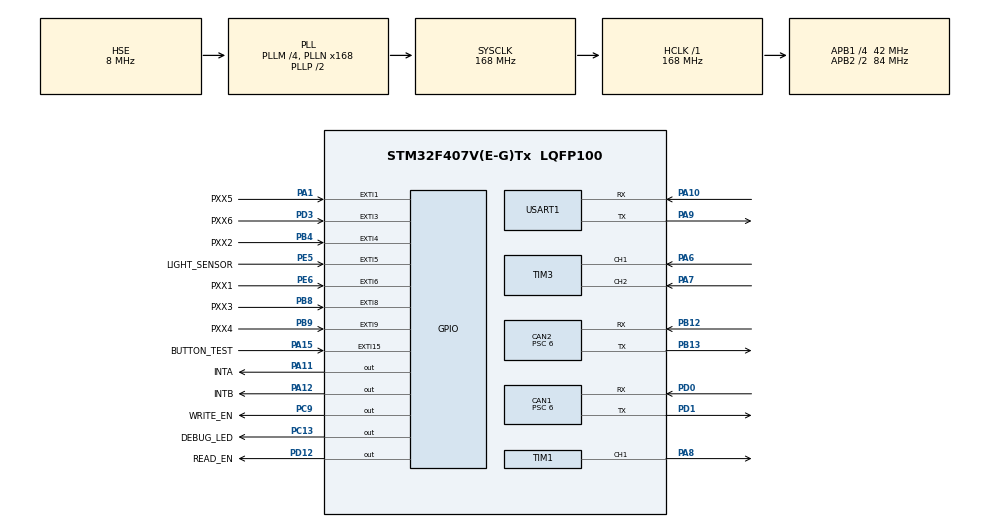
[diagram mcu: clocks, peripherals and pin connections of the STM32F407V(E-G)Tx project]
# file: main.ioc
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CAN1.BS1=CAN_BS1_3TQ
CAN1.BS2=CAN_BS2_3TQ
CAN1.CalculateBaudRate=1000000
CAN1.CalculateTimeBit=1000
CAN1.CalculateTimeQuantum=142.85714285714286
CAN1.Prescaler=6
CAN2.BS1=CAN_BS1_3TQ
CAN2.BS2=CAN_BS2_3TQ
CAN2.CalculateBaudRate=1000000
CAN2.CalculateTimeBit=1000
CAN2.CalculateTimeQuantum=142.85714285714286
CAN2.Prescaler=6
FREERTOS.Mutexes01=step_motor1_queue_mutex,Dynamic,NULL,Available;step_motor2_queue_mutex,Dynamic,NULL,Available;step_motor3_queue_mutex,Dynamic,NULL,Available
FREERTOS.Tasks01=main_task,24,512,MainTask,Default,NULL,Dynamic,NULL,NULL;step_motor1,40,128,step_motor1_task,Default,NULL,Dynamic,NULL,NULL;step_motor2,40,128,step_motor2_task,Default,NULL,Dynamic,NULL,NULL;step_motor3,40,128,step_motor3_task,Default,NULL,Dynamic,NULL,NULL
FREERTOS.configCHECK_FOR_STACK_OVERFLOW=2
FREERTOS.configENABLE_FPU=1
FREERTOS.configRECORD_STACK_HIGH_ADDRESS=1
FREERTOS.configTOTAL_HEAP_SIZE=30720
Mcu.Family=STM32F4
Mcu.Name=STM32F407V(E-G)Tx
Mcu.Package=LQFP100
NVIC.CAN1_RX0_IRQn=true\:5\:0\:false\:false\:true\:true\:true\:true\:true
NVIC.CAN1_RX1_IRQn=true\:5\:0\:false\:false\:true\:true\:true\:true\:true
NVIC.CAN1_SCE_IRQn=true\:5\:0\:false\:false\:true\:true\:true\:true\:true
NVIC.CAN1_TX_IRQn=true\:5\:0\:false\:false\:true\:true\:true\:true\:true
NVIC.CAN2_RX0_IRQn=true\:5\:0\:false\:false\:true\:true\:true\:true\:true
NVIC.CAN2_RX1_IRQn=true\:5\:0\:false\:false\:true\:true\:true\:true\:true
NVIC.CAN2_SCE_IRQn=true\:5\:0\:false\:false\:true\:true\:true\:true\:true
NVIC.CAN2_TX_IRQn=true\:5\:0\:false\:false\:true\:true\:true\:true\:true
NVIC.EXTI15_10_IRQn=true\:5\:0\:false\:false\:true\:true\:true\:true\:true
NVIC.EXTI1_IRQn=true\:5\:0\:false\:false\:true\:true\:true\:true\:true
NVIC.EXTI3_IRQn=true\:5\:0\:false\:false\:true\:true\:true\:true\:true
NVIC.EXTI4_IRQn=true\:5\:0\:false\:false\:true\:true\:true\:true\:true
NVIC.EXTI9_5_IRQn=true\:5\:0\:false\:false\:true\:true\:true\:true\:true
NVIC.PriorityGroup=NVIC_PRIORITYGROUP_4
NVIC.TIM8_BRK_TIM12_IRQn=true\:5\:0\:false\:false\:true\:true\:true\:true\:true
NVIC.TIM8_TRG_COM_TIM14_IRQn=true\:15\:0\:false\:false\:true\:false\:false\:true\:true
NVIC.TIM8_UP_TIM13_IRQn=true\:5\:0\:false\:false\:true\:true\:true\:true\:true
NVIC.TimeBase=TIM8_TRG_COM_TIM14_IRQn
NVIC.TimeBaseIP=TIM14
NVIC.USART1_IRQn=true\:5\:0\:false\:false\:true\:true\:false\:true\:true
PA1.GPIO_Label=PXX5
PA1.GPIO_ModeDefaultEXTI=GPIO_MODE_IT_RISING_FALLING
PA1.GPIO_PuPd=GPIO_PULLUP
PA1.Signal=GPXTI1
PA10.Mode=Asynchronous
PA10.Signal=USART1_RX
PA11.GPIO_Label=INTA
PA11.Signal=GPIO_Output
PA12.GPIO_Label=INTB
PA12.PinState=GPIO_PIN_SET
PA12.Signal=GPIO_Output
PA13.Mode=Serial_Wire
PA13.Signal=SYS_JTMS-SWDIO
PA14.Mode=Serial_Wire
PA14.Signal=SYS_JTCK-SWCLK
PA15.GPIO_Label=BUTTON_TEST
PA15.GPIO_ModeDefaultEXTI=GPIO_MODE_IT_RISING_FALLING
PA15.GPIO_PuPd=GPIO_PULLUP
PA15.Signal=GPXTI15
PA6.Signal=S_TIM3_CH1
PA7.Signal=S_TIM3_CH2
PA8.Signal=S_TIM1_CH1
PA9.Mode=Asynchronous
PA9.Signal=USART1_TX
PB12.Mode=CAN_Activate
PB12.Signal=CAN2_RX
PB13.Mode=CAN_Activate
PB13.Signal=CAN2_TX
PB4.GPIO_Label=PXX2
PB4.GPIO_ModeDefaultEXTI=GPIO_MODE_IT_RISING_FALLING
PB4.GPIO_PuPd=GPIO_PULLUP
PB4.Signal=GPXTI4
PB8.GPIO_Label=PXX3
PB8.GPIO_ModeDefaultEXTI=GPIO_MODE_IT_RISING_FALLING
PB8.GPIO_PuPd=GPIO_PULLUP
PB8.Signal=GPXTI8
PB9.GPIO_Label=PXX4
PB9.GPIO_ModeDefaultEXTI=GPIO_MODE_IT_RISING_FALLING
PB9.GPIO_PuPd=GPIO_PULLUP
PB9.Signal=GPXTI9
PC13-ANTI_TAMP.GPIO_Label=DEBUG_LED
PC13-ANTI_TAMP.GPIO_PuPd=GPIO_PULLUP
PC13-ANTI_TAMP.PinState=GPIO_PIN_SET
PC13-ANTI_TAMP.Signal=GPIO_Output
PC14-OSC32_IN.Mode=LSE-External-Oscillator
PC14-OSC32_IN.Signal=RCC_OSC32_IN
PC15-OSC32_OUT.Mode=LSE-External-Oscillator
PC15-OSC32_OUT.Signal=RCC_OSC32_OUT
PC9.GPIO_Label=WRITE_EN
PC9.GPIO_PuPd=GPIO_PULLDOWN
PC9.GPIO_Speed=GPIO_SPEED_FREQ_VERY_HIGH
PC9.PinState=GPIO_PIN_SET
PC9.Signal=GPIO_Output
PD0.Mode=CAN_Activate
PD0.Signal=CAN1_RX
PD1.Mode=CAN_Activate
PD1.Signal=CAN1_TX
PD12.GPIO_Label=READ_EN
PD12.GPIO_PuPd=GPIO_PULLDOWN
PD12.GPIO_Speed=GPIO_SPEED_FREQ_VERY_HIGH
PD12.Signal=GPIO_Output
PD3.GPIO_Label=PXX6
PD3.GPIO_ModeDefaultEXTI=GPIO_MODE_IT_RISING_FALLING
PD3.GPIO_PuPd=GPIO_PULLUP
PD3.Signal=GPXTI3
PE5.GPIO_Label=LIGHT_SENSOR
PE5.GPIO_PuPd=GPIO_PULLUP
PE5.Signal=GPXTI5
PE6.GPIO_Label=PXX1
PE6.GPIO_ModeDefaultEXTI=GPIO_MODE_IT_RISING_FALLING
PE6.GPIO_PuPd=GPIO_PULLUP
PE6.Signal=GPXTI6
PH0-OSC_IN.Mode=HSE-External-Oscillator
PH0-OSC_IN.Signal=RCC_OSC_IN
PH1-OSC_OUT.Mode=HSE-External-Oscillator
PH1-OSC_OUT.Signal=RCC_OSC_OUT
ProjectManager.HeapSize=0x200
ProjectManager.StackSize=0x400
ProjectManager.TargetToolchain=CMake
RCC.48MHZClocksFreq_Value=84000000
RCC.AHBFreq_Value=168000000
RCC.APB1CLKDivider=RCC_HCLK_DIV4
RCC.APB1Freq_Value=42000000
RCC.APB1TimFreq_Value=84000000
RCC.APB2CLKDivider=RCC_HCLK_DIV2
RCC.APB2Freq_Value=84000000
RCC.APB2TimFreq_Value=168000000
RCC.CortexFreq_Value=168000000
RCC.EnbaleCSS=true
RCC.HCLKFreq_Value=168000000
RCC.HSE_VALUE=8000000
RCC.HSI_VALUE=16000000
RCC.PLLM=4
RCC.PLLN=168
RCC.PLLSourceVirtual=RCC_PLLSOURCE_HSE
RCC.SYSCLKFreq_VALUE=168000000
RCC.SYSCLKSource=RCC_SYSCLKSOURCE_PLLCLK
RCC.VCOOutputFreq_Value=336000000
SH.S_TIM1_CH1.0=TIM1_CH1,PWM Generation1 CH1
SH.S_TIM3_CH1.0=TIM3_CH1,Encoder_Interface
SH.S_TIM3_CH2.0=TIM3_CH2,Encoder_Interface
TIM1.AutoReloadPreload=TIM_AUTORELOAD_PRELOAD_ENABLE
TIM1.Channel-PWM\ Generation1\ CH1=TIM_CHANNEL_1
TIM1.Period=100 -1
TIM1.Prescaler=168 -1
TIM12.AutoReloadPreload=TIM_AUTORELOAD_PRELOAD_ENABLE
TIM12.Period=10000
TIM12.Prescaler=168
TIM13.AutoReloadPreload=TIM_AUTORELOAD_PRELOAD_DISABLE
TIM13.Prescaler=16800-1
TIM3.AutoReloadPreload=TIM_AUTORELOAD_PRELOAD_ENABLE
TIM3.EncoderMode=TIM_ENCODERMODE_TI12
USART1.VirtualMode=VM_ASYNC
VP_FREERTOS_VS_CMSIS_V2.Mode=CMSIS_V2
VP_SYS_VS_tim14.Mode=TIM14
VP_TIM12_VS_ClockSourceINT.Mode=Internal
VP_TIM13_VS_ClockSourceINT.Mode=Enable_Timer
VP_TIM13_VS_OPM.Mode=OPM_bit
VP_TIM1_VS_ClockSourceINT.Mode=Internal
board=custom

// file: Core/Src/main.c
/* USER CODE BEGIN Header */
/**
  ******************************************************************************
  * @file           : main.c
  * @brief          : Main program body
  ******************************************************************************
  * @attention
  *
  * Copyright (c) 2025 STMicroelectronics.
  * All rights reserved.
  *
  * This software is licensed under terms that can be found in the LICENSE file
  * in the root directory of this software component.
  * If no LICENSE file comes with this software, it is provided AS-IS.
  *
  ******************************************************************************
  */
/* USER CODE END Header */
#include "main.h"
#include "cmsis_os.h"
#include "can.h"
#include "tim.h"
#include "usart.h"
#include "gpio.h"

/* USER CODE BEGIN Includes */
#include "button_system.h"
// #include "pid_system.h"
/* USER CODE END Includes */

void SystemClock_Config(void);
void MX_FREERTOS_Init(void);

/* USER CODE BEGIN 0 */
int __io_putchar(int ch)
{
  while (!(USART1->SR & USART_SR_TXE))
    ;
  USART1->DR = (uint8_t)ch;
  return ch;
}
/* USER CODE END 0 */

int main(void)
{

  /* MCU Configuration--------------------------------------------------------*/

  /* Reset of all peripherals, Initializes the Flash interface and the Systick. */
  HAL_Init();

  /* Configure the system clock */
  SystemClock_Config();

  /* Initialize all configured peripherals */
  MX_GPIO_Init();
  MX_CAN2_Init();
  MX_USART1_UART_Init();
  MX_TIM1_Init();
  MX_TIM3_Init();
  MX_CAN1_Init();
  MX_TIM13_Init();
  MX_TIM12_Init();

  /* Init scheduler */
  osKernelInitialize();

  /* Call init function for freertos objects (in cmsis_os2.c) */
  MX_FREERTOS_Init();

  /* Start scheduler */
  osKernelStart();

  /* We should never get here as control is now taken by the scheduler */

  /* Infinite loop */
  while (1)
  {

  }
}

void SystemClock_Config(void)
{
  RCC_OscInitTypeDef RCC_OscInitStruct = {0};
  RCC_ClkInitTypeDef RCC_ClkInitStruct = {0};

  /** Configure the main internal regulator output voltage
  */
  __HAL_RCC_PWR_CLK_ENABLE();
  __HAL_PWR_VOLTAGESCALING_CONFIG(PWR_REGULATOR_VOLTAGE_SCALE1);

  /** Initializes the RCC Oscillators according to the specified parameters
  * in the RCC_OscInitTypeDef structure.
  */
  RCC_OscInitStruct.OscillatorType = RCC_OSCILLATORTYPE_HSE;
  RCC_OscInitStruct.HSEState = RCC_HSE_ON;
  RCC_OscInitStruct.PLL.PLLState = RCC_PLL_ON;
  RCC_OscInitStruct.PLL.PLLSource = RCC_PLLSOURCE_HSE;
  RCC_OscInitStruct.PLL.PLLM = 4;
  RCC_OscInitStruct.PLL.PLLN = 168;
  RCC_OscInitStruct.PLL.PLLP = RCC_PLLP_DIV2;
  RCC_OscInitStruct.PLL.PLLQ = 4;
  if (HAL_RCC_OscConfig(&RCC_OscInitStruct) != HAL_OK)
  {
    Error_Handler();
  }

  /** Initializes the CPU, AHB and APB buses clocks
  */
  RCC_ClkInitStruct.ClockType = RCC_CLOCKTYPE_HCLK|RCC_CLOCKTYPE_SYSCLK
                              |RCC_CLOCKTYPE_PCLK1|RCC_CLOCKTYPE_PCLK2;
  RCC_ClkInitStruct.SYSCLKSource = RCC_SYSCLKSOURCE_PLLCLK;
  RCC_ClkInitStruct.AHBCLKDivider = RCC_SYSCLK_DIV1;
  RCC_ClkInitStruct.APB1CLKDivider = RCC_HCLK_DIV4;
  RCC_ClkInitStruct.APB2CLKDivider = RCC_HCLK_DIV2;

  if (HAL_RCC_ClockConfig(&RCC_ClkInitStruct, FLASH_LATENCY_5) != HAL_OK)
  {
    Error_Handler();
  }

  /** Enables the Clock Security System
  */
  HAL_RCC_EnableCSS();
}

void HAL_TIM_PeriodElapsedCallback(TIM_HandleTypeDef *htim)
{
  if (htim->Instance == TIM14)
  {
    HAL_IncTick();
  }
  /* USER CODE BEGIN Callback 1 */
  else if (htim->Instance == TIM13)
  {
    Button_System_Timer_Callback();
  }
  // else if (htim->Instance == TIM12)
  // {
  //   PID_System_Timer_Callback();
  // }
  /* USER CODE END Callback 1 */
}

void Error_Handler(void)
{
  __disable_irq();
  while (1)
  {
  }
}

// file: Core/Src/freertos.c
/* USER CODE BEGIN Header */
/**
 ******************************************************************************
 * File Name          : freertos.c
 * Description        : Code for freertos applications
 ******************************************************************************
 * @attention
 *
 * Copyright (c) 2025 STMicroelectronics.
 * All rights reserved.
 *
 * This software is licensed under terms that can be found in the LICENSE file
 * in the root directory of this software component.
 * If no LICENSE file comes with this software, it is provided AS-IS.
 *
 ******************************************************************************
 */
/* USER CODE END Header */

#include "FreeRTOS.h"
#include "task.h"
#include "main.h"
#include "cmsis_os.h"

/* USER CODE BEGIN Includes */
#include <stdio.h>
#include "usart.h"
#include "dc_motor.h"
#include "tim.h"
#include "can.h"
#include "step_motor.h"
#include "myqueue.h"
#include "button_system.h"
/* USER CODE END Includes */

/* USER CODE BEGIN PM */
typedef enum System_Mode
{
  SYSTEM_MODE_OFF = 0,
  SYSTEM_MODE_AUTO = 1,
  SYSTEM_MODE_HAND = 2
} System_Mode_Typedef;
/* USER CODE END PM */

/* USER CODE BEGIN Variables */
uint8_t timer_set_flag = 0;
System_Mode_Typedef system_mode = SYSTEM_MODE_OFF;
const char *cmd[] =
    {
        "start \n",
        "class1\n",
        "class2\n",
        "class3\n"};
uint8_t buff[40];
DC_Monitor_TypeDef hdc;
DECLARE_QUEUE(step_motor1_queue, osTimerId_t, 8)
DECLARE_QUEUE(step_motor2_queue, osTimerId_t, 8)
DECLARE_QUEUE(step_motor3_queue, osTimerId_t, 8)

/* USER CODE END Variables */
/* Definitions for main_task */
osThreadId_t main_taskHandle;
const osThreadAttr_t main_task_attributes = {
    .name = "main_task",
    .stack_size = 512 * 4,
    .priority = (osPriority_t)osPriorityNormal,
};
/* Definitions for step_motor1 */
osThreadId_t step_motor1Handle;
const osThreadAttr_t step_motor1_attributes = {
    .name = "step_motor1",
    .stack_size = 128 * 4,
    .priority = (osPriority_t)osPriorityHigh,
};
/* Definitions for step_motor2 */
osThreadId_t step_motor2Handle;
const osThreadAttr_t step_motor2_attributes = {
    .name = "step_motor2",
    .stack_size = 128 * 4,
    .priority = (osPriority_t)osPriorityHigh,
};
/* Definitions for step_motor3 */
osThreadId_t step_motor3Handle;
const osThreadAttr_t step_motor3_attributes = {
    .name = "step_motor3",
    .stack_size = 128 * 4,
    .priority = (osPriority_t)osPriorityHigh,
};
/* Definitions for step_motor1_queue_mutex */
osMutexId_t step_motor1_queue_mutexHandle;
const osMutexAttr_t step_motor1_queue_mutex_attributes = {
    .name = "step_motor1_queue_mutex"};
/* Definitions for step_motor2_queue_mutex */
osMutexId_t step_motor2_queue_mutexHandle;
const osMutexAttr_t step_motor2_queue_mutex_attributes = {
    .name = "step_motor2_queue_mutex"};
/* Definitions for step_motor3_queue_mutex */
osMutexId_t step_motor3_queue_mutexHandle;
const osMutexAttr_t step_motor3_queue_mutex_attributes = {
    .name = "step_motor3_queue_mutex"};

/* USER CODE BEGIN FunctionPrototypes */
void step_motor1_timer_callback()
{
  osThreadFlagsSet(step_motor1Handle, 0x01);
}
void step_motor2_timer_callback()
{
  osThreadFlagsSet(step_motor2Handle, 0x01);
}
void step_motor3_timer_callback()
{
  osThreadFlagsSet(step_motor3Handle, 0x01);
}

void HAL_GPIO_EXTI_Callback(uint16_t GPIO_Pin)
{
  if (GPIO_Pin == LIGHT_SENSOR_Pin)
  {
    if(system_mode==SYSTEM_MODE_AUTO)
    {
      timer_set_flag = 1;
    }

    // HAL_UART_Transmit_IT(&huart1, cmd[0], 7);
    // printf("Tim start\r\n");
  }
  else
  {
    Button_System_IRQ_Entry(GPIO_Pin);
  }
}

void HAL_UARTEx_RxEventCallback(UART_HandleTypeDef *huart, uint16_t Size)
{
  if (huart->Instance == USART1)
  {
    if (HAL_UARTEx_GetRxEventType(huart) == HAL_UART_RXEVENT_IDLE)
    {
      if (system_mode == SYSTEM_MODE_AUTO)
      {
        if (Size >= 6)
        {
          timer_set_flag = buff[5] - '0';
        }
        if (timer_set_flag == 4)
          timer_set_flag = 1;
      }
      HAL_UARTEx_ReceiveToIdle_IT(&huart1, buff, sizeof(buff));
    }
  }
}

void STEP_Motor1_buttonPushCallback(void)
{
  if (system_mode == SYSTEM_MODE_HAND)
  {
    osThreadFlagsSet(step_motor1Handle, 0x01);
  }
  else
  {
    printf("[down]Error: You can't control stepmotor1 unless hand mode\n");
  }
}

void STEP_Motor2_buttonPushCallback(void)
{
  if (system_mode == SYSTEM_MODE_HAND)
  {
    osThreadFlagsSet(step_motor2Handle, 0x01);
  }
  else
  {
    printf("[down]Error: You can't control stepmotor2 unless hand mode\n");
  }
}

void STEP_Motor3_buttonPushCallback(void)
{
  if (system_mode == SYSTEM_MODE_HAND)
  {
    osThreadFlagsSet(step_motor3Handle, 0x01);
  }
  else
  {
    printf("[down]Error: You can't control stepmotor3 unless hand mode\n");
  }
}

void SYSTEM_Hand_Mode_OnButtonCallBack(void)
{
  if (system_mode != SYSTEM_MODE_HAND)
  {
    system_mode = SYSTEM_MODE_HAND;
    printf("System Mode: Hand\r\n");

    DC_Motor_SetSpeed(&hdc, 10);
  }
}

void SYSTEM_Off_Mode_OnButtonCallBack(void)
{
  if (system_mode != SYSTEM_MODE_OFF)
  {
    system_mode = SYSTEM_MODE_OFF;
    printf("System Mode: Off\r\n");
    DC_Motor_SetSpeed(&hdc, 0);
    HAL_GPIO_WritePin(DEBUG_LED_GPIO_Port, DEBUG_LED_Pin, GPIO_PIN_SET);
  }
}

void SYSTEM_Auto_Mode_OnButtonCallBack(void)
{
  if (system_mode != SYSTEM_MODE_AUTO)
  {
    system_mode = SYSTEM_MODE_AUTO;
    printf("System Mode: Auto\r\n");
    DC_Motor_SetSpeed(&hdc, 10);
    HAL_GPIO_WritePin(DEBUG_LED_GPIO_Port, DEBUG_LED_Pin, GPIO_PIN_RESET);
  }
}

/* USER CODE END FunctionPrototypes */

void MainTask(void *argument);
void step_motor1_task(void *argument);
void step_motor2_task(void *argument);
void step_motor3_task(void *argument);

void MX_FREERTOS_Init(void); /* (MISRA C 2004 rule 8.1) */

/* Hook prototypes */
void vApplicationStackOverflowHook(xTaskHandle xTask, signed char *pcTaskName);

/* USER CODE BEGIN 4 */
void vApplicationStackOverflowHook(xTaskHandle xTask, signed char *pcTaskName)
{
  /* Run time stack overflow checking is performed if
  configCHECK_FOR_STACK_OVERFLOW is defined to 1 or 2. This hook function is
  called if a stack overflow is detected. */
  printf("overflow %s\r\n", pcTaskName);
  while (1)
  {
    /* code */
  }
}
/* USER CODE END 4 */

void MX_FREERTOS_Init(void)
{
  /* Create the mutex(es) */
  /* creation of step_motor1_queue_mutex */
  step_motor1_queue_mutexHandle = osMutexNew(&step_motor1_queue_mutex_attributes);

  /* creation of step_motor2_queue_mutex */
  step_motor2_queue_mutexHandle = osMutexNew(&step_motor2_queue_mutex_attributes);

  /* creation of step_motor3_queue_mutex */
  step_motor3_queue_mutexHandle = osMutexNew(&step_motor3_queue_mutex_attributes);

  /* Create the thread(s) */
  /* creation of main_task */
  main_taskHandle = osThreadNew(MainTask, NULL, &main_task_attributes);

  /* creation of step_motor1 */
  step_motor1Handle = osThreadNew(step_motor1_task, NULL, &step_motor1_attributes);

  /* creation of step_motor2 */
  step_motor2Handle = osThreadNew(step_motor2_task, NULL, &step_motor2_attributes);

  /* creation of step_motor3 */
  step_motor3Handle = osThreadNew(step_motor3_task, NULL, &step_motor3_attributes);

}

void MainTask(void *argument)
{
  /* USER CODE BEGIN MainTask */
  step_motor1_queue_init();
  step_motor2_queue_init();
  step_motor3_queue_init();

  DC_Motor_Init(&hdc, &htim1, &htim3, TIM_CHANNEL_1, 100);
  DC_Motor_SetSpeed(&hdc, 0);
  DC_Motor_Start(&hdc);
  HAL_CAN_Start(&hcan1);
  HAL_TIM_Encoder_Start(&htim3, TIM_CHANNEL_ALL);
  HAL_UARTEx_ReceiveToIdle_IT(&huart1, buff, sizeof(buff));
  osDelay(1);
  StepMotor_Init(&hcan1);

  Button_System_Init(&htim13);
  // system_mode = SYSTEM_MODE_HAND;
  Button_System_Add(PXX1_GPIO_Port, PXX1_Pin, GPIO_PIN_RESET, STEP_Motor1_buttonPushCallback, NULL);
  Button_System_Add(PXX2_GPIO_Port, PXX2_Pin, GPIO_PIN_RESET, STEP_Motor3_buttonPushCallback, NULL);
  Button_System_Add(PXX3_GPIO_Port, PXX3_Pin, GPIO_PIN_RESET, STEP_Motor2_buttonPushCallback, NULL);
  Button_System_Add(PXX4_GPIO_Port, PXX4_Pin, GPIO_PIN_SET, SYSTEM_Hand_Mode_OnButtonCallBack, SYSTEM_Off_Mode_OnButtonCallBack);
  Button_System_Add(PXX5_GPIO_Port, PXX5_Pin, GPIO_PIN_SET, SYSTEM_Auto_Mode_OnButtonCallBack, SYSTEM_Off_Mode_OnButtonCallBack);
  // Button_System_Add(BUTTON_TEST_GPIO_Port, BUTTON_TEST_Pin, GPIO_PIN_RESET, PushCallBack, ReleaseCallBack);
  printf("System Init success\n");
  osTimerId_t tim_id;
  /* Infinite loop */
  for (;;)
  {
    switch (timer_set_flag)
    {
    case 1:
      tim_id = osTimerNew(step_motor1_timer_callback, osTimerOnce, NULL, NULL);
      osTimerStart(tim_id, 10500);
      osMutexAcquire(step_motor1_queue_mutexHandle, osWaitForever);
      step_motor1_queue_enqueue(&tim_id);
      osMutexRelease(step_motor1_queue_mutexHandle);
      timer_set_flag = 0;
      break;
    case 2:
      tim_id = osTimerNew(step_motor2_timer_callback, osTimerOnce, NULL, NULL);
      osTimerStart(tim_id, 3000);
      osMutexAcquire(step_motor2_queue_mutexHandle, osWaitForever);
      step_motor2_queue_enqueue(&tim_id);
      osMutexRelease(step_motor2_queue_mutexHandle);
      timer_set_flag = 0;
      break;
    case 3:
      tim_id = osTimerNew(step_motor3_timer_callback, osTimerOnce, NULL, NULL);
      osTimerStart(tim_id, 6000);
      osMutexAcquire(step_motor3_queue_mutexHandle, osWaitForever);
      step_motor3_queue_enqueue(&tim_id);
      osMutexRelease(step_motor3_queue_mutexHandle);
      timer_set_flag = 0;
      break;
    default:
      break;
    }

    osDelay(1);
  }
  /* USER CODE END MainTask */
}

void step_motor1_task(void *argument)
{
  /* USER CODE BEGIN step_motor1_task */
  /* Infinite loop */
  osTimerId_t tim_id;
  for (;;)
  {
    osThreadFlagsWait(0x01, osFlagsWaitAny, osWaitForever);
    StepMotor_id_1.speed_l = 70;
    StepMotor_id_1.dir = STEPMOTOR_DIRECTION_CW;
    can_ctrl_stepmotor(&StepMotor_id_1);

    osDelay(600);
    StepMotor_id_1.speed_l = 100;
    StepMotor_id_1.dir = STEPMOTOR_DIRECTION_CCW;
    can_ctrl_stepmotor(&StepMotor_id_1);

    if (system_mode == SYSTEM_MODE_AUTO)
    {
      osMutexAcquire(step_motor1_queue_mutexHandle, osWaitForever);
      step_motor1_queue_dequeue(&tim_id);
      osMutexRelease(step_motor1_queue_mutexHandle);
      osTimerDelete(tim_id);
    }
  }
  /* USER CODE END step_motor1_task */
}

void step_motor2_task(void *argument)
{
  /* USER CODE BEGIN step_motor2_task */
  /* Infinite loop */
  osTimerId_t tim_id;
  for (;;)
  {
    osThreadFlagsWait(0x01, osFlagsWaitAny, osWaitForever);
    StepMotor_id_2.speed_l = 70;
    StepMotor_id_2.dir = STEPMOTOR_DIRECTION_CW;
    can_ctrl_stepmotor(&StepMotor_id_2);

    osDelay(600);
    StepMotor_id_2.speed_l = 100;
    StepMotor_id_2.dir = STEPMOTOR_DIRECTION_CCW;
    can_ctrl_stepmotor(&StepMotor_id_2);

    if (system_mode == SYSTEM_MODE_AUTO)
    {
      osMutexAcquire(step_motor2_queue_mutexHandle, osWaitForever);
      step_motor2_queue_dequeue(&tim_id);
      osMutexRelease(step_motor2_queue_mutexHandle);
      osTimerDelete(tim_id);
    }
  }
  /* USER CODE END step_motor2_task */
}

void step_motor3_task(void *argument)
{
  /* USER CODE BEGIN step_motor3_task */
  /* Infinite loop */
  osTimerId_t tim_id;
  for (;;)
  {
    osThreadFlagsWait(0x01, osFlagsWaitAny, osWaitForever);
    StepMotor_id_3.speed_l = 70;
    StepMotor_id_3.dir = STEPMOTOR_DIRECTION_CW;
    can_ctrl_stepmotor(&StepMotor_id_3);

    osDelay(600);
    StepMotor_id_3.speed_l = 100;
    StepMotor_id_3.dir = STEPMOTOR_DIRECTION_CCW;
    can_ctrl_stepmotor(&StepMotor_id_3);

    if (system_mode == SYSTEM_MODE_AUTO)
    {
      osMutexAcquire(step_motor3_queue_mutexHandle, osWaitForever);
      step_motor3_queue_dequeue(&tim_id);
      osMutexRelease(step_motor3_queue_mutexHandle);
      osTimerDelete(tim_id);
    }
  }
  /* USER CODE END step_motor3_task */
}
